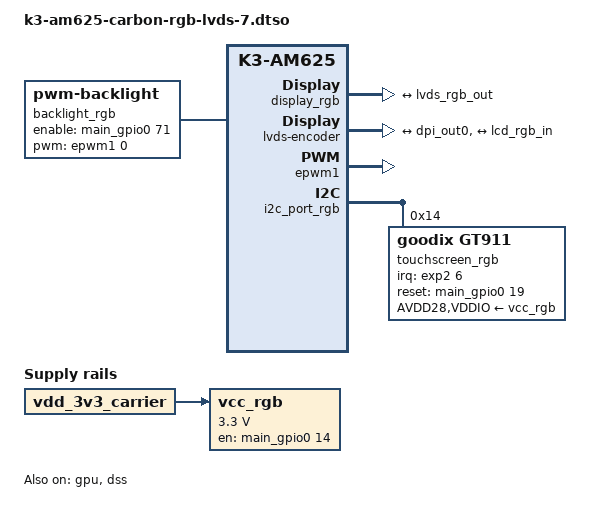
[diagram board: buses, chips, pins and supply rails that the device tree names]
// SPDX-License-Identifier: GPL-2.0-only OR MIT
/*
 * RGB to LVDS Expansion Board with BD070LIC3 display for carbon AM62x
 *
 * Copyright (C) 2024 Ezurio LLC
 */

/dts-v1/;
/plugin/;

#include <dt-bindings/gpio/gpio.h>
#include <dt-bindings/interrupt-controller/irq.h>
#include <dt-bindings/pwm/pwm.h>
#include "k3-pinctrl.h"

#include "k3-am625-carbon-bd-panel.dtsi"

&{/} {
	backlight_rgb: backlight-rgb {
		compatible = "pwm-backlight";

		brightness-levels = <0 1 2 3 4 5 6 7 8 9 10>;
		default-brightness-level = <8>;
		pwms = <&epwm1 0 30000 0>; /* 33.3 kHz */

		pinctrl-names = "default";
		pinctrl-0 = <&main_rgb_backlight_en_default>;
		enable-gpios = <&main_gpio0 71 GPIO_ACTIVE_HIGH>;
	};

	vcc_rgb: regulator-vcc-rgb {
		compatible = "regulator-fixed";
		regulator-name = "vcc_rgb";
		regulator-min-microvolt = <3300000>;
		regulator-max-microvolt = <3300000>;

		vin-supply = <&vdd_3v3_carrier>;

		pinctrl-names = "default";
		pinctrl-0 = <&main_rgb_power_default>;
		gpios = <&main_gpio0 14 GPIO_ACTIVE_HIGH>;
		enable-active-high;
		startup-delay-us = <20000>;
	};

	display_rgb: display-rgb {
		compatible = "panel-lvds";
		data-mapping = "vesa-24";

		power-supply = <&vcc_rgb>;
		backlight = <&backlight_rgb>;

		width-mm = <150>;
		height-mm = <94>;

		panel-timing {
			BD_PANEL_TIMING
		};

		port {
			lcd_rgb_in: endpoint {
				remote-endpoint = <&lvds_rgb_out>;
			};
		};
	};

	lvds-encoder {
		compatible = "ti,sn65lvds93a", "lvds-encoder";

		//pclk-sample = <1>;
		max-frequency = <130000000>;
		min-frequency = <20000000>;

		ports {
			#address-cells = <1>;
			#size-cells = <0>;

			port@0 {
				reg = <0>;
				lvds_rgb_in: endpoint {
					remote-endpoint = <&dpi_out0>;
				};
			};

			port@1 {
				reg = <1>;
				lvds_rgb_out: endpoint {
					remote-endpoint = <&lcd_rgb_in>;
				};
			};
		};
	};
};

&epwm1 {
	status = "okay";
};

&gpu {
	status = "okay";
};

&dss {
	pinctrl-names = "default";
	pinctrl-0 = <&main_dss0_pins_default>;
	status = "okay";
};

&dss_ports {
	#address-cells = <1>;
	#size-cells = <0>;

	port@1 {
		reg = <1>;

		dpi_out0: endpoint {
			remote-endpoint = <&lvds_rgb_in>;
		};
	};
};

&i2c_port_rgb {
	#address-cells = <1>;
	#size-cells = <0>;

	touchscreen_rgb: touchscreen@14 {
		compatible = "goodix,gt911";
		reg = <0x14>;

		AVDD28-supply = <&vcc_rgb>;
		VDDIO-supply = <&vcc_rgb>;

		pinctrl-names = "default";
		pinctrl-0 = <&main_rgb_reset_default>;

		interrupts-extended = <&exp2 6 IRQ_TYPE_EDGE_FALLING>;
		interrupt-names = "irq";
		irq-gpios = <&exp2 6 (GPIO_ACTIVE_HIGH | GPIO_PULL_UP)>;
		reset-gpios = <&main_gpio0 19 GPIO_ACTIVE_HIGH>;

		touchscreen-min-x = <0>;
		touchscreen-min-y = <0>;
		touchscreen-size-x = <1280>;
		touchscreen-size-y = <800>;
	};
};
